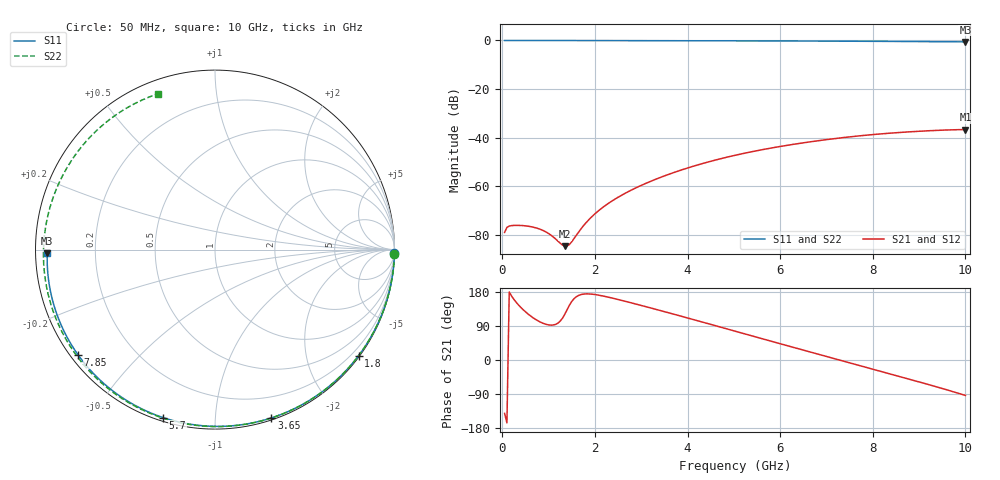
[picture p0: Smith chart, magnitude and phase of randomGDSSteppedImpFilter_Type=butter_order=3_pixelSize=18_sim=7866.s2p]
! freq	dB(S11)	phase(S11)	dB(S12)	phase(S12)
!  dB(S21)	phase(S21)	dB(S22)	phase(S22)
!S-par simulation data
#  GHz  S  DB  R 50
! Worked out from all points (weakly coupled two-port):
!   200 points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, 50 MHz to 10 GHz, reference 50 ohm
!   highest |S21| = -36.63 dB at 10 GHz (marker M1); lowest = -84.5 dB at 1.35 GHz (marker M2)
!   lowest |S11| = -0.6 dB at 10 GHz (marker M3), VSWR 29.74, Z = 1.68 - j0.544 ohm
!   |S11| at or under -10 dB: nowhere
!   |S22| runs from -0.7 to 0.0 dB; largest |S21 - S12| = 0
!   S11 on the Smith chart (normalised r, x): 50 MHz: open; 1.8 GHz: 0.03, -3.04; 3.65 GHz: 0.02, -1.39; 5.7 GHz: 0.02, -0.74; 7.85 GHz: 0.02, -0.34; 10 GHz: 0.03, -0.01
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0.05  -0.00 -1.0  -78.89 -141.0  -78.89 -141.0  -0.00 -1.3
0.1  -0.00 -2.1  -76.81 -165.9  -76.81 -165.9  -0.00 -2.6
0.15  -0.00 -3.1  -76.29 179.5  -76.29 179.5  -0.00 -3.8
0.4  -0.01 -8.2  -76.04 138.8  -76.04 138.8  -0.01 -10.2
0.75  -0.02 -15.4  -77.15 104.8  -77.15 104.8  -0.02 -19.0
1.05  -0.03 -21.4  -80.01 92.0  -80.01 92.0  -0.03 -26.5
1.35  -0.03 -27.5  -84.55 121.0  -84.55 121.0  -0.04 -34.0
1.6  -0.04 -32.4  -80.04 167.1  -80.04 167.1  -0.05 -40.1
1.75  -0.04 -35.4  -76.21 173.9  -76.21 173.9  -0.06 -43.8
1.8  -0.05 -36.4  -75.09 174.4  -75.09 174.4  -0.06 -45.0
2.1  -0.05 -42.3  -69.64 170.7  -69.64 170.7  -0.07 -52.3
2.45  -0.06 -49.0  -65.01 161.2  -65.01 161.2  -0.08 -60.6
3.4  -0.09 -66.9  -56.39 130.9  -56.39 130.9  -0.11 -82.8
3.65  -0.10 -71.5  -54.64 122.7  -54.64 122.7  -0.12 -88.5
4.35  -0.12 -84.0  -50.44 99.1  -50.44 99.1  -0.15 -104.3
5.05  -0.15 -96.2  -47.09 75.2  -47.09 75.2  -0.18 -119.8
5.7  -0.18 -107.1  -44.58 53.1  -44.58 53.1  -0.23 -134.2
6.7  -0.24 -123.6  -41.52 19.6  -41.52 19.6  -0.30 -156.9
7.85  -0.33 -142.3  -38.95 -18.9  -38.95 -18.9  -0.42 175.0
8.35  -0.38 -150.5  -38.13 -35.8  -38.13 -35.8  -0.47 161.7
9.15  -0.47 -163.9  -37.17 -62.9  -37.17 -62.9  -0.57 138.4
10  -0.58 -178.8  -36.63 -93.5  -36.63 -93.5  -0.68 110.2
